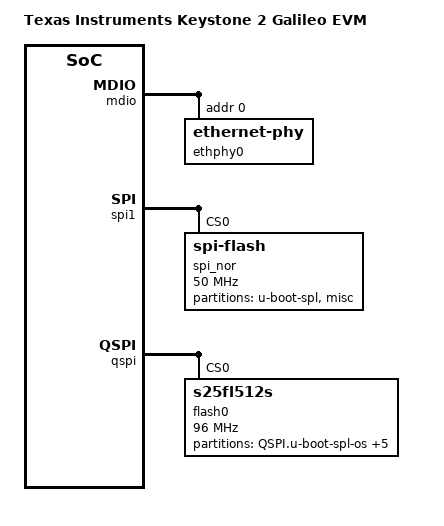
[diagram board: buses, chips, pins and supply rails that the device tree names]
/*
 * Copyright 2014 Texas Instruments, Inc.
 *
 * Keystone 2 Galileo EVM device tree
 *
 * This program is free software; you can redistribute it and/or modify
 * it under the terms of the GNU General Public License version 2 as
 * published by the Free Software Foundation.
 */
/dts-v1/;

#include "k2g.dtsi"

/ {
	compatible =  "ti,k2g-evm","ti,keystone";
	model = "Texas Instruments Keystone 2 Galileo EVM";

	chosen {
		stdout-path = &uart0;
	};
};

&mdio {
	status = "okay";
	ethphy0: ethernet-phy@0 {
		reg = <0>;
		phy-mode = "rgmii-id";
	};
};

&gbe0 {
	phy-handle = <&ethphy0>;
};

&spi1 {
	status = "okay";

	spi_nor: flash@0 {
		#address-cells = <1>;
		#size-cells = <1>;
		compatible = "spi-flash";
		spi-max-frequency = <50000000>;
		m25p,fast-read;
		reg = <0>;

		partition@0 {
			label = "u-boot-spl";
			reg = <0x0 0x80000>;
			read-only;
		};

		partition@1 {
			label = "misc";
			reg = <0x80000 0xf80000>;
		};
	};
};

&qspi {
	status = "okay";

        flash0: m25p80@0 {
                compatible = "s25fl512s","spi-flash";
                reg = <0>;
                spi-tx-bus-width = <1>;
                spi-rx-bus-width = <4>;
                spi-max-frequency = <96000000>;
                #address-cells = <1>;
                #size-cells = <1>;
                tshsl-ns = <392>;
                tsd2d-ns = <392>;
                tchsh-ns = <100>;
                tslch-ns = <100>;
		block-size = <18>;


                partition@0 {
                        label = "QSPI.u-boot-spl-os";
                        reg = <0x00000000 0x00100000>;
                };
                partition@1 {
                        label = "QSPI.u-boot-env";
                        reg = <0x00100000 0x00040000>;
                };
                partition@2 {
                        label = "QSPI.skern";
                        reg = <0x00140000 0x0040000>;
                };
                partition@3 {
                        label = "QSPI.pmmc-firmware";
                        reg = <0x00180000 0x0040000>;
                };
                partition@4 {
                        label = "QSPI.kernel";
                        reg = <0x001C0000 0x0800000>;
                };
                partition@5 {
                        label = "QSPI.file-system";
                        reg = <0x009C0000 0x3640000>;
                };
        };
};
